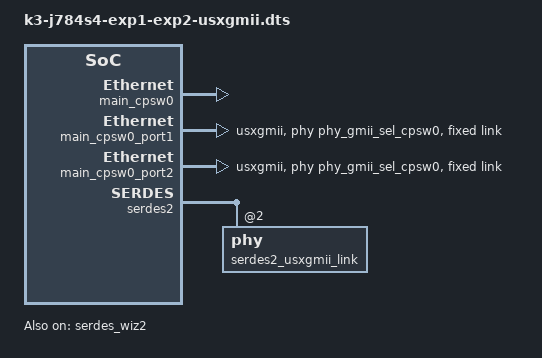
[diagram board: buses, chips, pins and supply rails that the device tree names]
// SPDX-License-Identifier: GPL-2.0
/**
 * DT Overlay for CPSW9G in dual port fixed-link USXGMII mode using ENET-1
 * and ENET-2 Expansion slots of J784S4 EVM.
 *
 * Copyright (C) 2022 Texas Instruments Incorporated - https://www.ti.com/
 */

/dts-v1/;
/plugin/;

#include <dt-bindings/gpio/gpio.h>
#include <dt-bindings/mux/ti-serdes.h>
#include <dt-bindings/phy/phy-cadence.h>
#include <dt-bindings/phy/phy.h>

&main_cpsw0 {
	status = "okay";
	pinctrl-names = "default";
};

&main_cpsw0_port1 {
	status = "okay";
	phy-mode = "usxgmii";
	mac-address = [00 00 00 00 00 00];
	phys = <&phy_gmii_sel_cpsw0 1>, <&serdes2_usxgmii_link>;
	phy-names = "portmode", "serdes-phy";
	fixed-link {
		speed = <5000>;
		full-duplex;
	};
};

&main_cpsw0_port2 {
	status = "okay";
	phy-mode = "usxgmii";
	mac-address = [00 00 00 00 00 00];
	phys = <&phy_gmii_sel_cpsw0 2>, <&serdes2_usxgmii_link>;
	phy-names = "portmode", "serdes-phy";
	fixed-link {
		speed = <5000>;
		full-duplex;
	};
};

&main_cpsw0_port3 {
	status = "disabled";
};

&main_cpsw0_port4 {
	status = "disabled";
};

&main_cpsw0_port5 {
	status = "disabled";
};

&main_cpsw0_port6 {
	status = "disabled";
};

&main_cpsw0_port7 {
	status = "disabled";
};

&main_cpsw0_port8 {
	status = "disabled";
};

&cpsw9g_virt_mac {
	status = "disabled";
};

&cpsw9g_virt_maconly {
	status = "disabled";
};

&serdes_wiz2 {
	status = "okay";
	assigned-clock-parents = <&k3_clks 406 9>;
};

&serdes2 {
	status = "okay";
	#address-cells = <1>;
	#size-cells = <0>;
	serdes2_usxgmii_link: phy@2 {
		reg = <2>;
		cdns,num-lanes = <2>;
		#phy-cells = <0>;
		cdns,phy-type = <PHY_TYPE_USXGMII>;
		resets = <&serdes_wiz2 3>, <&serdes_wiz2 4>;
	};
};

&serdes_ln_ctrl {
	idle-states = <J784S4_SERDES0_LANE0_PCIE1_LANE0>, <J784S4_SERDES0_LANE1_PCIE1_LANE1>,
		      <J784S4_SERDES0_LANE2_IP3_UNUSED>, <J784S4_SERDES0_LANE3_USB>,
		      <J784S4_SERDES1_LANE0_PCIE0_LANE0>, <J784S4_SERDES1_LANE1_PCIE0_LANE1>,
		      <J784S4_SERDES1_LANE2_PCIE0_LANE2>, <J784S4_SERDES1_LANE3_PCIE0_LANE3>,
		      <J784S4_SERDES2_LANE0_IP2_UNUSED>, <J784S4_SERDES2_LANE1_IP2_UNUSED>,
		      <J784S4_SERDES2_LANE2_QSGMII_LANE1>, <J784S4_SERDES2_LANE3_QSGMII_LANE2>;
};

&main_r5fss0_core0 {
	firmware-name = "pdk-ipc/ipc_echo_test_mcu2_0_release_strip.xer5f";
};
